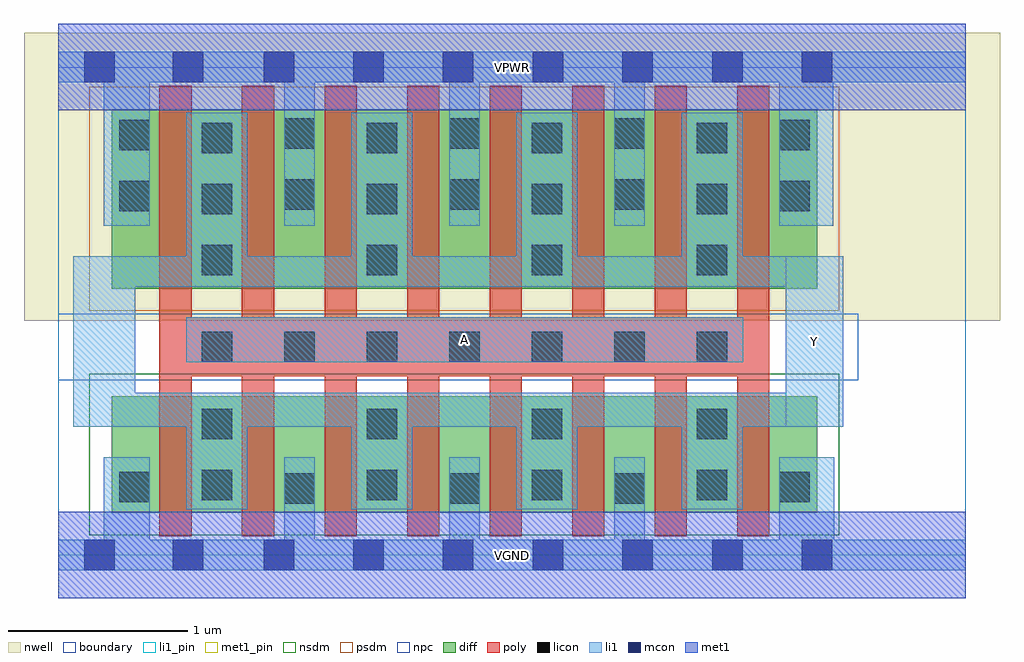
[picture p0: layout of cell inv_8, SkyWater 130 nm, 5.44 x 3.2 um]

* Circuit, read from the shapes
.subckt inv_8 A VGND VPWR Y
XM1 Y A VGND VSUBS sky130_fd_pr__nfet_01v8 w=0.65 l=0.18 m=8
XM2 Y A VPWR n1 sky130_fd_pr__pfet_01v8 w=1 l=0.18 m=8
.ends

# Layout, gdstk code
import gdstk
lib = gdstk.Library(unit=1e-6, precision=1e-09)
def R(c, l, rs):  # rectangles x0, y0, x1, y1
    for r in rs: c.add(gdstk.rectangle(r[:2], r[2:], *l))
def A(c, l, x, y, w, h, nx, ny, dx, dy):  # array of equal rectangles
    R(c, l, [(x+i*dx, y+j*dy, x+i*dx+w, y+j*dy+h) for i in range(nx) for j in range(ny)])
nwell = (64, 20)
diff = (65, 20)
poly = (66, 20)
licon = (66, 44)
li1_pin = (67, 16)
li1 = (67, 20)
mcon = (67, 44)
met1_pin = (68, 16)
met1 = (68, 20)
nsdm = (93, 44)
psdm = (94, 20)
npc = (95, 20)
boundary = (235, 4)

inv_8 = lib.new_cell('inv_8')
R(inv_8, nwell, [(-0.19,1.305,5.25,2.91), (0,1.305,5.06,2.91)])
R(inv_8, diff, [(0.3,0.235,4.23,0.885), (0.3,1.485,4.23,2.485)])
A(inv_8, poly, 0.565, 0.105, 0.18, 2.51, 8, 1, 0.46, 0)
R(inv_8, poly, [(0.565,0.995,3.965,1.325)])
A(inv_8, licon, 1.26, 0.285, 0.17, 0.17, 3, 2, 0.92, 1.64)
A(inv_8, licon, 0.8, 0.305, 0.17, 0.17, 4, 2, 0.92, 0.34)
A(inv_8, licon, 0.8, 1.075, 0.17, 0.17, 7, 1, 0.46, 0)
A(inv_8, licon, 0.8, 1.56, 0.17, 0.17, 4, 3, 0.92, 0.34)
A(inv_8, licon, 1.26, 2.265, 0.17, 0.17, 3, 1, 0.92, 0)
R(inv_8, licon, [(0.34,0.295,0.51,0.465), (4.02,0.295,4.19,0.465), (0.34,1.915,0.51,2.085), (4.02,1.915,4.19,2.085), (0.34,2.255,0.51,2.425), (4.02,2.255,4.19,2.425)])
R(inv_8, li1_pin, [(4.055,0.715,4.375,1.665), (0.715,1.075,3.82,1.325)])
A(inv_8, li1, 1.26, -0.085, 0.17, 0.63, 3, 1, 0.92, 0)
A(inv_8, li1, 0.715, 0.255, 0.34, 0.65, 4, 1, 0.92, 0)
A(inv_8, li1, 0.715, 1.495, 0.34, 0.97, 4, 1, 0.92, 0)
A(inv_8, li1, 1.26, 1.835, 0.17, 0.97, 3, 1, 0.92, 0)
R(inv_8, li1, [(0,-0.085,5.06,0.085), (0.255,-0.085,0.51,0.545), (4.02,-0.085,4.325,0.545), (0.085,0.715,4.375,0.905), (0.085,0.715,0.43,1.665), (4.055,0.715,4.375,1.665), (0.715,1.075,3.82,1.325), (0.085,1.495,4.375,1.665), (0.255,1.835,0.51,2.805), (4.02,1.835,4.32,2.805), (0,2.635,5.06,2.805)])
A(inv_8, mcon, 1.145, -0.085, 0.17, 0.17, 7, 2, 0.5, 2.72)
R(inv_8, mcon, [(0.145,-0.085,0.315,0.085), (0.64,-0.085,0.81,0.085), (0.145,2.635,0.315,2.805), (0.64,2.635,0.81,2.805)])
R(inv_8, met1_pin, [(0,-0.24,5.06,0.24), (0,2.48,5.06,2.96)])
R(inv_8, met1, [(0,-0.24,5.06,0.24), (0,2.48,5.06,2.96)])
R(inv_8, nsdm, [(0.175,0.11,4.355,1.01)])
R(inv_8, psdm, [(0.175,1.36,4.355,2.61)])
R(inv_8, npc, [(0,0.975,4.46,1.345)])
R(inv_8, boundary, [(0,0,5.06,2.72)])
inv_8.add(gdstk.Label('A', (2.267,1.2), layer=67, texttype=5))
inv_8.add(gdstk.Label('Y', (4.215,1.19), layer=67, texttype=5))
inv_8.add(gdstk.Label('VPWR', (2.53,2.72), layer=68, texttype=5))
inv_8.add(gdstk.Label('VGND', (2.53,0), layer=68, texttype=5))
inv_8.add(gdstk.Label('A', (2.267,1.2), layer=67, texttype=16))
inv_8.add(gdstk.Label('Y', (4.215,1.19), layer=67, texttype=16))
inv_8.add(gdstk.Label('VPWR', (2.53,2.72), layer=68, texttype=16))
inv_8.add(gdstk.Label('VGND', (2.53,0), layer=68, texttype=16))

lib.write_gds('inv_8.gds')
